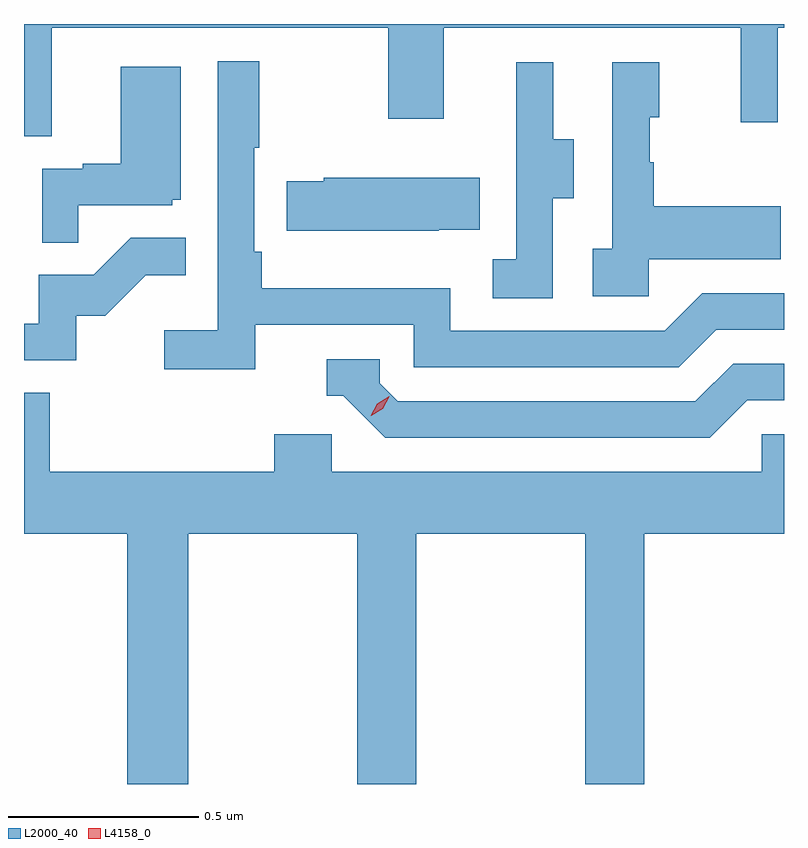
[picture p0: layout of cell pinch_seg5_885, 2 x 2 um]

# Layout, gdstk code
import gdstk
lib = gdstk.Library(unit=1e-6, precision=1e-09)
def P(c, l, *ps):  # polygons
    for p in ps: c.add(gdstk.Polygon(p, *l))
L2000_40 = (2000, 40)
L4158_0 = (4158, 0)

pinch_seg5_885 = lib.new_cell('pinch_seg5_885')
P(pinch_seg5_885, L2000_40, [(824.947,894.056),(825.832,894.056),(825.832,893.817),(825.979,893.817),(825.979,894.056),(826.76,894.056),(826.76,893.808),(826.857,893.808),(826.857,894.056),(826.874,894.056),(826.874,894.066),(824.874,894.066),(824.874,893.77),(824.947,893.77)],
  [(825.482,893.274),(825.9,893.274),(825.9,893.163),(826.597,893.163),(826.696,893.262),(826.874,893.262),(826.874,893.358),(826.659,893.358),(826.56,893.259),(825.996,893.259),(825.996,893.371),(825.5,893.371),(825.5,893.467),(825.48,893.467),(825.48,893.74),(825.493,893.74),(825.493,893.968),(825.384,893.968),(825.384,893.26),(825.243,893.26),(825.243,893.158),(825.482,893.158)],
  [(826.518,893.447),(826.865,893.447),(826.865,893.587),(826.531,893.587),(826.531,893.702),(826.521,893.702),(826.521,893.82),(826.546,893.82),(826.546,893.965),(826.422,893.965),(826.422,893.474),(826.371,893.474),(826.371,893.349),(826.518,893.349)],
  [(826.266,893.608),(826.321,893.608),(826.321,893.763),(826.267,893.763),(826.267,893.965),(826.169,893.965),(826.169,893.751),(826.17,893.751),(826.17,893.447),(826.107,893.447),(826.107,893.344),(826.266,893.344)],
  [(825.017,893.589),(825.264,893.589),(825.264,893.604),(825.286,893.604),(825.286,893.953),(825.128,893.953),(825.128,893.698),(825.029,893.698),(825.029,893.685),(824.922,893.685),(824.922,893.491),(825.017,893.491)],
  [(825.965,893.525),(826.073,893.525),(826.073,893.662),(825.663,893.662),(825.663,893.652),(825.565,893.652),(825.565,893.522),(825.965,893.522)],
  [(825.012,893.298),(825.088,893.298),(825.195,893.405),(825.299,893.405),(825.299,893.504),(825.155,893.504),(825.057,893.406),(824.913,893.406),(824.913,893.277),(824.874,893.277),(824.874,893.181),(825.012,893.181)],
  [(826.777,893.076),(826.874,893.076),(826.874,893.172),(826.74,893.172),(826.641,893.073),(825.858,893.073),(825.81,893.121),(825.81,893.184),(825.671,893.184),(825.671,893.088),(825.714,893.088),(825.825,892.977),(826.678,892.977)],
  [(825.306,892.724),(825.751,892.724),(825.751,892.066),(825.906,892.066),(825.906,892.724),(826.351,892.724),(826.351,892.066),(826.506,892.066),(826.506,892.724),(826.874,892.724),(826.874,892.986),(826.815,892.986),(826.815,892.888),(825.684,892.888),(825.684,892.986),(825.533,892.986),(825.533,892.888),(824.942,892.888),(824.942,893.096),(824.874,893.096),(824.874,892.724),(825.146,892.724),(825.146,892.066),(825.306,892.066)])
P(pinch_seg5_885, L4158_0, [(825.787,893.035),(825.787,893.035),(825.804,893.067),(825.835,893.086),(825.835,893.086),(825.835,893.085),(825.818,893.053),(825.788,893.035)])

lib.write_gds('pinch_seg5_885.gds')
